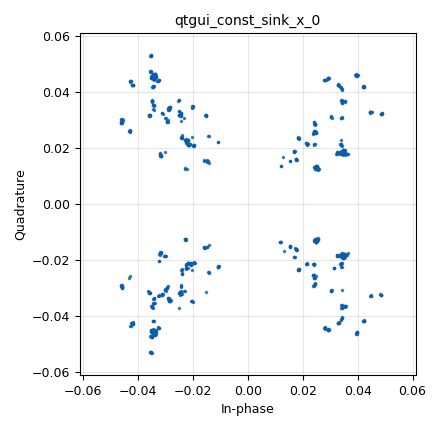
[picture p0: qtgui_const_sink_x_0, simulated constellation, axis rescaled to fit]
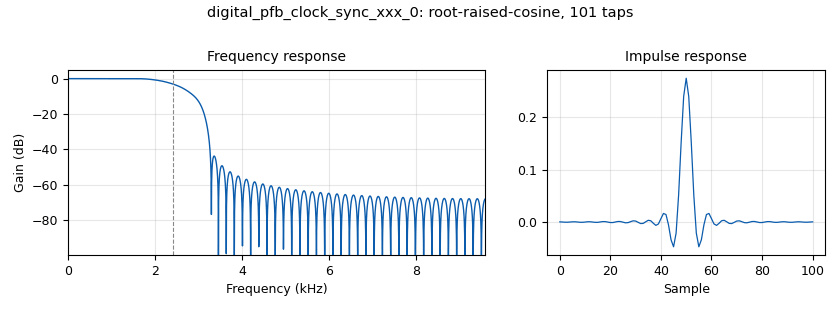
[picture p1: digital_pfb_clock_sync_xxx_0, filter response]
options:
  parameters:
    generate_options: qt_gui
    id: default
    output_language: python
    title: Not titled yet
  states: {}

blocks:
- name: qpsk_const
  id: variable_constellation
  parameters:
    precision: '8'
    type: qpsk
  states: {}
- name: rrc_filter_taps
  id: variable_rrc_filter_taps
  parameters:
    alpha: '0.35'
    gain: '1.0'
    ntaps: '11'
    samp_rate: samp_rate
    sym_rate: '4800'
  states: {}
- name: samp_rate
  id: variable
  parameters:
    value: '19200'
  states: {}
- name: analog_agc2_xx_0
  id: analog_agc2_xx
  parameters:
    attack_rate: '1e-1'
    decay_rate: '1e-2'
    gain: '10.0'
    max_gain: '65536'
    reference: '1.0'
    type: complex
  states: {}
- name: analog_random_source_x_0
  id: analog_random_source_x
  parameters:
    max: '255'
    min: '0'
    num_samps: '1000'
    repeat: 'True'
    type: byte
  states: {state: disabled}
- name: blocks_file_sink_0
  id: blocks_file_sink
  parameters:
    file: /data/foo.bin
    type: byte
  states: {}
- name: blocks_repack_bits_bb_0
  id: blocks_repack_bits_bb
  parameters:
    endianness: gr.GR_MSB_FIRST
    k: '2'
    l: '8'
  states: {}
- name: blocks_throttle2_0
  id: blocks_throttle2
  parameters:
    samples_per_second: samp_rate
    type: complex
  states: {}
- name: blocks_vector_source_x_0
  id: blocks_vector_source_x
  parameters:
    repeat: 'True'
    type: byte
    vector: (0x55,0x55,0x55,0x55,0x55,0x55,0x55,0x55,0xD3,0x91,0x00,0xFF,0x00,0xFF,0x01,0x02,0x03,0x04)
  states: {}
- name: channels_channel_model_0
  id: channels_channel_model
  parameters:
    epsilon: '1.0'
    freq_offset: '0.0'
    noise_voltage: '0.01'
    seed: '0'
    taps: '1.0'
  states: {}
- name: digital_constellation_decoder_cb_0
  id: digital_constellation_decoder_cb
  parameters:
    constellation: qpsk_const
  states: {}
- name: digital_constellation_modulator_0
  id: digital_constellation_modulator
  parameters:
    constellation: qpsk_const
    differential: 'True'
    excess_bw: '0.35'
    samples_per_symbol: '4'
  states: {}
- name: digital_correlate_access_code_tag_xx_0
  id: digital_correlate_access_code_tag_xx
  parameters:
    access_code: '101010101010101010101010101010101010101010101010'
    tagname: access_code
    threshold: '20'
    type: byte
  states: {}
- name: digital_costas_loop_cc_0
  id: digital_costas_loop_cc
  parameters:
    order: '4'
    w: '0.03'
  states: {}
- name: digital_diff_decoder_bb_0
  id: digital_diff_decoder_bb
  parameters:
    coding: digital.DIFF_DIFFERENTIAL
    modulus: '4'
  states: {}
- name: blocks_delay_0
  id: blocks_delay
  parameters:
    delay: '1'
    type: byte
  states: {}
- name: digital_pfb_clock_sync_xxx_0
  id: digital_pfb_clock_sync_xxx
  parameters:
    filter_size: '32'
    init_phase: '16'
    loop_bw: '0.0628'
    max_dev: '1.5'
    osps: '1'
    sps: '4'
    taps: firdes.root_raised_cosine(1.0, 19200, 4800, 0.35, 101)
    type: ccf
  states: {}
- name: pdu_tagged_stream_to_pdu_0
  id: pdu_tagged_stream_to_pdu
  parameters:
    tag: packet_len
    type: byte
  states: {state: disabled}
- name: qtgui_const_sink_x_0
  id: qtgui_const_sink_x
  parameters:
    size: '1024'
    type: complex
  states: {}
- name: root_raised_cosine_filter_0
  id: root_raised_cosine_filter
  parameters:
    alpha: '0.35'
    decim: '1'
    gain: '1'
    ntaps: '101'
    samp_rate: samp_rate
    sym_rate: '4800'
    type: fir_filter_ccf
  states: {state: disabled}

connections:
- [analog_agc2_xx_0, '0', digital_pfb_clock_sync_xxx_0, '0']
- [analog_agc2_xx_0, '0', root_raised_cosine_filter_0, '0']
- [analog_random_source_x_0, '0', digital_constellation_modulator_0, '0']
- [blocks_repack_bits_bb_0, '0', digital_correlate_access_code_tag_xx_0, '0']
- [blocks_throttle2_0, '0', channels_channel_model_0, '0']
- [blocks_vector_source_x_0, '0', digital_constellation_modulator_0, '0']
- [channels_channel_model_0, '0', analog_agc2_xx_0, '0']
- [blocks_delay_0, '0', blocks_repack_bits_bb_0, '0']
- [digital_constellation_decoder_cb_0, '0', digital_diff_decoder_bb_0, '0']
- [digital_constellation_modulator_0, '0', blocks_throttle2_0, '0']
- [digital_correlate_access_code_tag_xx_0, '0', blocks_file_sink_0, '0']
- [digital_correlate_access_code_tag_xx_0, '0', pdu_tagged_stream_to_pdu_0, '0']
- [digital_costas_loop_cc_0, '0', digital_constellation_decoder_cb_0, '0']
- [digital_costas_loop_cc_0, '0', qtgui_const_sink_x_0, '0']
- [digital_diff_decoder_bb_0, '0', blocks_delay_0, '0']
- [digital_pfb_clock_sync_xxx_0, '0', digital_costas_loop_cc_0, '0']
- [root_raised_cosine_filter_0, '0', digital_pfb_clock_sync_xxx_0, '0']

metadata:
  file_format: 1
  grc_version: 3.10.9.2
